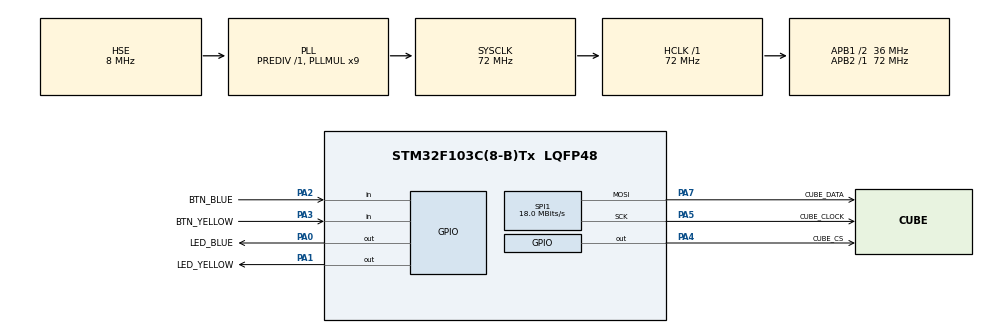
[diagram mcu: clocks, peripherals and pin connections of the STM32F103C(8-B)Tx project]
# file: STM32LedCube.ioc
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Mcu.Family=STM32F1
Mcu.Name=STM32F103C(8-B)Tx
Mcu.Package=LQFP48
NVIC.PriorityGroup=NVIC_PRIORITYGROUP_4
PA0-WKUP.GPIO_Label=LED_BLUE
PA0-WKUP.GPIO_PuPd=GPIO_PULLDOWN
PA0-WKUP.GPIO_Speed=GPIO_SPEED_FREQ_HIGH
PA0-WKUP.Signal=GPIO_Output
PA1.GPIO_Label=LED_YELLOW
PA1.GPIO_PuPd=GPIO_PULLDOWN
PA1.GPIO_Speed=GPIO_SPEED_FREQ_HIGH
PA1.Signal=GPIO_Output
PA13.Mode=Serial_Wire
PA13.Signal=SYS_JTMS-SWDIO
PA14.Mode=Serial_Wire
PA14.Signal=SYS_JTCK-SWCLK
PA2.GPIO_Label=BTN_BLUE
PA2.GPIO_PuPd=GPIO_PULLUP
PA2.Signal=GPIO_Input
PA3.GPIO_Label=BTN_YELLOW
PA3.GPIO_PuPd=GPIO_PULLUP
PA3.Signal=GPIO_Input
PA4.GPIO_Label=CUBE_CS
PA4.GPIO_PuPd=GPIO_PULLDOWN
PA4.GPIO_Speed=GPIO_SPEED_FREQ_HIGH
PA4.Signal=GPIO_Output
PA5.GPIO_Label=CUBE_CLOCK
PA5.Mode=TX_Only_Simplex_Unidirect_Master
PA5.Signal=SPI1_SCK
PA7.GPIO_Label=CUBE_DATA
PA7.Mode=TX_Only_Simplex_Unidirect_Master
PA7.Signal=SPI1_MOSI
PD0-OSC_IN.Mode=HSE-External-Oscillator
PD0-OSC_IN.Signal=RCC_OSC_IN
PD1-OSC_OUT.Mode=HSE-External-Oscillator
PD1-OSC_OUT.Signal=RCC_OSC_OUT
ProjectManager.HeapSize=0x200
ProjectManager.StackSize=0x400
ProjectManager.TargetToolchain=TrueSTUDIO
RCC.AHBFreq_Value=72000000
RCC.APB1CLKDivider=RCC_HCLK_DIV2
RCC.APB1Freq_Value=36000000
RCC.APB1TimFreq_Value=72000000
RCC.APB2Freq_Value=72000000
RCC.APB2TimFreq_Value=72000000
RCC.HCLKFreq_Value=72000000
RCC.PLLMUL=RCC_PLL_MUL9
RCC.PLLSourceVirtual=RCC_PLLSOURCE_HSE
RCC.PWREXT_OverDrive=PWREXT_OverDrive_ACTIVATED
RCC.PWR_Regulator_Voltage_Scale=PWR_REGULATOR_VOLTAGE_SCALE1
RCC.RCC_TIM_PRescaler_Selection=RCC_TIMPRES_DESACTIVATED
RCC.SYSCLKFreq_VALUE=72000000
RCC.SYSCLKSource=RCC_SYSCLKSOURCE_PLLCLK
RCC.USBFreq_Value=72000000
SPI1.BaudRatePrescaler=SPI_BAUDRATEPRESCALER_4
SPI1.CalculateBaudRate=18.0 MBits/s
SPI1.Direction=SPI_DIRECTION_2LINES
SPI1.Mode=SPI_MODE_MASTER
SPI1.VirtualType=VM_MASTER
board=custom

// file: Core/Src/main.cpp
/* USER CODE BEGIN Header */
/**
  ******************************************************************************
  * @file           : main.c
  * @brief          : Main program body
  ******************************************************************************
  * @attention
  *
  * <h2><center>&copy; Copyright (c) 2019 STMicroelectronics.
  * All rights reserved.</center></h2>
  *
  * This software component is licensed by ST under BSD 3-Clause license,
  * the "License"; You may not use this file except in compliance with the
  * License. You may obtain a copy of the License at:
  *                        opensource.org/licenses/BSD-3-Clause
  *
  ******************************************************************************
  */
/* USER CODE END Header */

#include <CubeController.h>
#include "main.h"
#include "spi.h"
#include "gpio.h"

/* USER CODE BEGIN PD */
#define BTN_PRESSED 1
#define BTN_RELEASED 0
/* USER CODE END PD */

/* USER CODE BEGIN PV */
CCubeController controller;
/* USER CODE END PV */

void SystemClock_Config(void);
/* USER CODE BEGIN PFP */

uint8_t g_BtnYellowPressed;
uint8_t g_BtnBluePressed;

void Driver_CheckButtons()
{
	uint8_t btnYellowPressed = (HAL_GPIO_ReadPin(BTN_YELLOW_GPIO_Port, BTN_YELLOW_Pin) == GPIO_PIN_RESET) ? BTN_PRESSED : BTN_RELEASED;
	uint8_t btnBluePressed   = (HAL_GPIO_ReadPin(BTN_BLUE_GPIO_Port,   BTN_BLUE_Pin  ) == GPIO_PIN_RESET) ? BTN_PRESSED : BTN_RELEASED;

	if (g_BtnYellowPressed == BTN_PRESSED && btnYellowPressed == BTN_RELEASED)
	{
		g_BtnYellowPressed = btnYellowPressed;
		controller.BtnYellowClick();
		HAL_Delay(100);
		return;
	}

	if (g_BtnBluePressed == BTN_PRESSED && btnBluePressed == BTN_RELEASED)
	{
		g_BtnBluePressed = btnBluePressed;
		controller.BtnBlueClick();
		HAL_Delay(100);
		return;
	}

	g_BtnYellowPressed = btnYellowPressed;
	g_BtnBluePressed = btnBluePressed;
}

/* USER CODE END PFP */

int main(void)
{

  /* MCU Configuration--------------------------------------------------------*/

  /* Reset of all peripherals, Initializes the Flash interface and the Systick. */
  HAL_Init();

  /* Configure the system clock */
  SystemClock_Config();

  /* Initialize all configured peripherals */
  MX_GPIO_Init();
  MX_SPI1_Init();
  /* USER CODE BEGIN 2 */

  g_BtnYellowPressed = BTN_RELEASED;
  HAL_GPIO_WritePin(LED_YELLOW_GPIO_Port, LED_YELLOW_Pin, GPIO_PIN_RESET);

  g_BtnBluePressed = BTN_RELEASED;
  HAL_GPIO_WritePin(LED_BLUE_GPIO_Port, LED_BLUE_Pin, GPIO_PIN_RESET);

  /* USER CODE END 2 */

  /* Infinite loop */
  /* USER CODE BEGIN WHILE */

  while (1)
  {
	  Driver_CheckButtons();
	  controller.Update();
    /* USER CODE END WHILE */

  }
}

void SystemClock_Config(void)
{
  RCC_OscInitTypeDef RCC_OscInitStruct = {0};
  RCC_ClkInitTypeDef RCC_ClkInitStruct = {0};

  /** Initializes the CPU, AHB and APB busses clocks
  */
  RCC_OscInitStruct.OscillatorType = RCC_OSCILLATORTYPE_HSE;
  RCC_OscInitStruct.HSEState = RCC_HSE_ON;
  RCC_OscInitStruct.HSEPredivValue = RCC_HSE_PREDIV_DIV1;
  RCC_OscInitStruct.HSIState = RCC_HSI_ON;
  RCC_OscInitStruct.PLL.PLLState = RCC_PLL_ON;
  RCC_OscInitStruct.PLL.PLLSource = RCC_PLLSOURCE_HSE;
  RCC_OscInitStruct.PLL.PLLMUL = RCC_PLL_MUL9;
  if (HAL_RCC_OscConfig(&RCC_OscInitStruct) != HAL_OK)
  {
    Error_Handler();
  }
  /** Initializes the CPU, AHB and APB busses clocks
  */
  RCC_ClkInitStruct.ClockType = RCC_CLOCKTYPE_HCLK|RCC_CLOCKTYPE_SYSCLK
                              |RCC_CLOCKTYPE_PCLK1|RCC_CLOCKTYPE_PCLK2;
  RCC_ClkInitStruct.SYSCLKSource = RCC_SYSCLKSOURCE_PLLCLK;
  RCC_ClkInitStruct.AHBCLKDivider = RCC_SYSCLK_DIV1;
  RCC_ClkInitStruct.APB1CLKDivider = RCC_HCLK_DIV2;
  RCC_ClkInitStruct.APB2CLKDivider = RCC_HCLK_DIV1;

  if (HAL_RCC_ClockConfig(&RCC_ClkInitStruct, FLASH_LATENCY_2) != HAL_OK)
  {
    Error_Handler();
  }
}

void Error_Handler(void)
{
}

/************************ (C) COPYRIGHT STMicroelectronics *****END OF FILE****/
